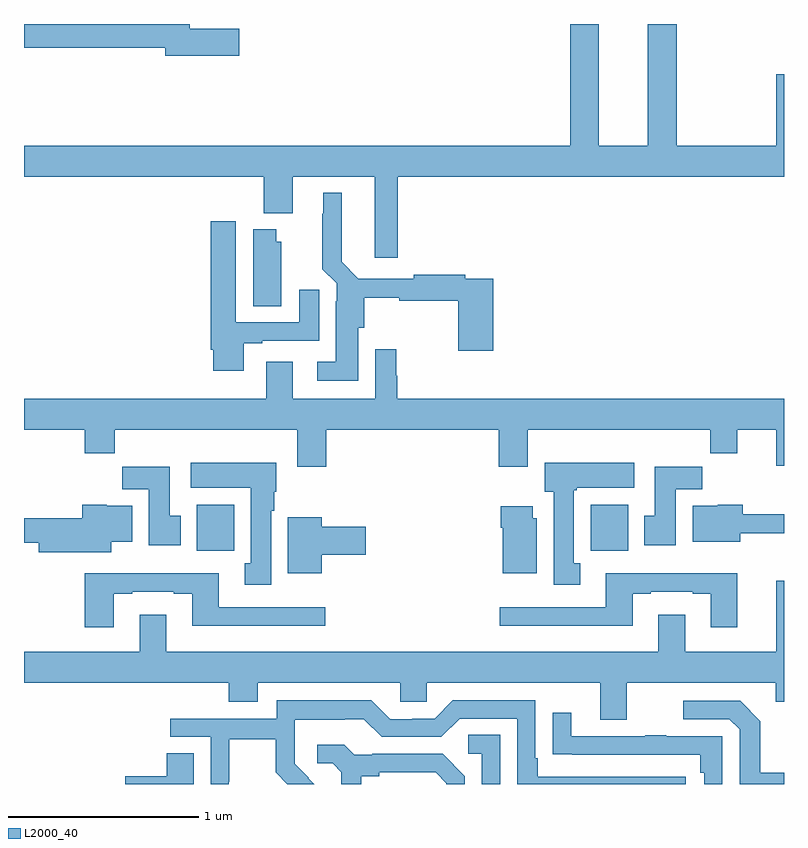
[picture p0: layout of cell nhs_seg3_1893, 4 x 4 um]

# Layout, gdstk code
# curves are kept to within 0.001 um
import gdstk
lib = gdstk.Library(unit=1e-6, precision=1e-09)
def R(c, l, rs):  # rectangles x0, y0, x1, y1
    for r in rs: c.add(gdstk.rectangle(r[:2], r[2:], *l))
def P(c, l, *ps):  # polygons
    for p in ps: c.add(gdstk.Polygon(p, *l))
L2000_40 = (2000, 40)

nhs_seg3_1893 = lib.new_cell('nhs_seg3_1893')
R(nhs_seg3_1893, L2000_40, [(209.909,685.628,210.106,685.87), (211.982,685.628,212.179,685.87)])
P(nhs_seg3_1893, L2000_40, [(210.968,687.596),(213,687.596),(213,688.135),(212.96,688.135),(212.96,687.76),(212.435,687.76),(212.435,688.4),(212.282,688.4),(212.282,687.76),(212.026,687.76),(212.026,688.4),(211.874,688.4),(211.874,687.76),(209,687.76),(209,687.596),(210.263,687.596),(210.263,687.404),(210.415,687.404),(210.415,687.596),(210.845,687.596),(210.845,687.171),(210.968,687.171)],
  [(210.133,688.376),(209.872,688.376),(209.872,688.4),(209,688.4),(209,688.276),(209.744,688.276),(209.744,688.234),(210.133,688.234)],
  [(210.76,686.802),(210.791,686.802),(210.791,686.959),(210.974,686.959),(210.974,686.944),(211.286,686.944),(211.286,686.679),(211.469,686.679),(211.469,687.06),(211.322,687.06),(211.322,687.08),(211.051,687.08),(211.051,687.06),(210.76,687.06),(210.673,687.148),(210.673,687.511),(210.575,687.511),(210.575,687.401),(210.571,687.401),(210.571,687.11),(210.645,687.036),(210.645,686.942),(210.641,686.942),(210.641,686.623),(210.543,686.623),(210.543,686.522),(210.76,686.522)],
  [(210.157,686.721),(210.253,686.721),(210.253,686.733),(210.553,686.733),(210.553,687.001),(210.449,687.001),(210.449,686.829),(210.115,686.829),(210.115,687.361),(209.984,687.361),(209.984,686.686),(209.996,686.686),(209.996,686.574),(210.157,686.574)],
  [(210.355,687.255),(210.328,687.255),(210.328,687.319),(210.206,687.319),(210.206,686.914),(210.355,686.914)],
  [(210.59,686.264),(211.499,686.264),(211.499,686.07),(211.651,686.07),(211.651,686.264),(212.611,686.264),(212.611,686.14),(212.755,686.14),(212.755,686.264),(212.96,686.264),(212.96,686.076),(213,686.076),(213,686.428),(210.965,686.428),(210.965,686.55),(210.958,686.55),(210.958,686.689),(210.849,686.689),(210.849,686.428),(210.415,686.428),(210.415,686.623),(210.275,686.623),(210.275,686.428),(209,686.428),(209,686.264),(209.321,686.264),(209.321,686.14),(209.477,686.14),(209.477,686.264),(210.437,686.264),(210.437,686.07),(210.59,686.07)],
  [(210.301,685.838),(210.316,685.838),(210.316,685.938),(210.328,685.938),(210.328,686.092),(209.877,686.092),(209.877,685.958),(210.194,685.958),(210.194,685.562),(210.161,685.562),(210.161,685.449),(210.301,685.449)],
  [(211.927,685.562),(211.894,685.562),(211.894,685.945),(211.908,685.945),(211.908,685.958),(212.212,685.958),(212.212,686.092),(211.742,686.092),(211.742,685.938),(211.787,685.938),(211.787,685.449),(211.927,685.449)],
  [(209.824,685.812),(209.767,685.812),(209.767,686.071),(209.518,686.071),(209.518,685.952),(209.657,685.952),(209.657,685.656),(209.824,685.656)],
  [(212.431,685.952),(212.57,685.952),(212.57,686.071),(212.321,686.071),(212.321,685.812),(212.264,685.812),(212.264,685.656),(212.431,685.656)],
  [(212.77,685.72),(213,685.72),(213,685.821),(212.783,685.821),(212.783,685.87),(212.652,685.87),(212.652,685.864),(212.519,685.864),(212.519,685.676),(212.77,685.676)],
  [(209.458,685.676),(209.569,685.676),(209.569,685.864),(209.436,685.864),(209.436,685.87),(209.306,685.87),(209.306,685.798),(209,685.798),(209,685.669),(209.078,685.669),(209.078,685.619),(209.458,685.619)],
  [(211.699,685.8),(211.678,685.8),(211.678,685.861),(211.508,685.861),(211.508,685.748),(211.52,685.748),(211.52,685.508),(211.699,685.508)],
  [(210.568,685.607),(210.799,685.607),(210.799,685.754),(210.568,685.754),(210.568,685.804),(210.389,685.804),(210.389,685.508),(210.568,685.508)],
  [(209.473,685.401),(209.569,685.401),(209.569,685.413),(209.789,685.413),(209.789,685.401),(209.885,685.401),(209.885,685.232),(210.586,685.232),(210.586,685.329),(210.025,685.329),(210.025,685.51),(209.321,685.51),(209.321,685.224),(209.473,685.224)],
  [(212.755,685.51),(212.063,685.51),(212.063,685.329),(211.503,685.329),(211.503,685.232),(212.203,685.232),(212.203,685.401),(212.299,685.401),(212.299,685.413),(212.519,685.413),(212.519,685.401),(212.615,685.401),(212.615,685.224),(212.755,685.224)],
  [(212.173,684.932),(212.957,684.932),(212.957,684.833),(213,684.833),(213,685.471),(212.96,685.471),(212.96,685.096),(212.479,685.096),(212.479,685.291),(212.339,685.291),(212.339,685.096),(209.749,685.096),(209.749,685.291),(209.609,685.291),(209.609,685.096),(209,685.096),(209,684.932),(210.077,684.932),(210.077,684.833),(210.229,684.833),(210.229,684.932),(210.981,684.932),(210.981,684.834),(211.119,684.834),(211.119,684.932),(212.033,684.932),(212.033,684.738),(212.173,684.738)],
  [(210.078,684.412),(210.081,684.412),(210.081,684.636),(210.325,684.636),(210.325,684.461),(210.386,684.4),(210.528,684.4),(210.424,684.506),(210.424,684.603),(210.426,684.603),(210.426,684.737),(210.689,684.737),(210.689,684.741),(210.789,684.741),(210.882,684.648),(211.197,684.648),(211.293,684.744),(211.596,684.744),(211.596,684.4),(212.482,684.4),(212.482,684.438),(211.705,684.438),(211.705,684.535),(211.692,684.535),(211.692,684.84),(211.257,684.84),(211.161,684.744),(211.043,684.744),(211.043,684.741),(210.927,684.741),(210.827,684.841),(210.33,684.841),(210.33,684.744),(209.769,684.744),(209.769,684.648),(209.982,684.648),(209.982,684.4),(210.078,684.4)],
  [(213,684.459),(212.875,684.459),(212.875,684.731),(212.769,684.837),(212.469,684.837),(212.469,684.741),(212.712,684.741),(212.766,684.687),(212.766,684.4),(213,684.4)],
  [(212.676,684.651),(212.381,684.651),(212.381,684.656),(212.269,684.656),(212.269,684.651),(211.879,684.651),(211.879,684.775),(211.783,684.775),(211.783,684.556),(211.885,684.556),(211.885,684.555),(212.56,684.555),(212.56,684.458),(212.58,684.458),(212.58,684.4),(212.676,684.4)],
  [(211.506,684.659),(211.338,684.659),(211.338,684.558),(211.41,684.558),(211.41,684.4),(211.506,684.4)],
  [(210.775,684.44),(210.871,684.44),(210.871,684.462),(211.166,684.462),(211.223,684.405),(211.223,684.4),(211.32,684.4),(211.32,684.442),(211.204,684.558),(210.832,684.558),(210.832,684.555),(210.738,684.555),(210.686,684.607),(210.543,684.607),(210.543,684.51),(210.624,684.51),(210.671,684.463),(210.671,684.4),(210.775,684.4)],
  [(209.893,684.563),(209.75,684.563),(209.75,684.44),(209.532,684.44),(209.532,684.4),(209.893,684.4)])

lib.write_gds('nhs_seg3_1893.gds')
